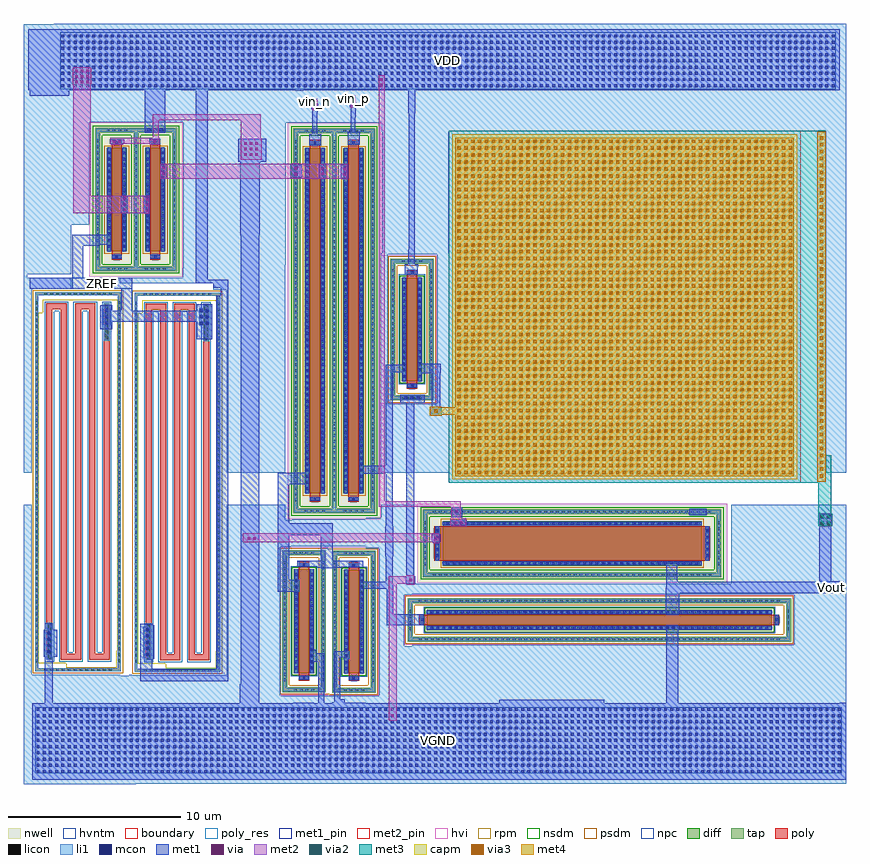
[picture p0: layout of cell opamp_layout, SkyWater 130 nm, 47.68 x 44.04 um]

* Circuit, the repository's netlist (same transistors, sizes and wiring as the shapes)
* NGSPICE file created from opamp_layout.ext - technology: sky130A

.subckt sky130_fd_pr__res_high_po_0p35_QUQJ7B a_n367_n2066# a_n497_n2196# a_297_1634#
X0 a_297_1634# a_n367_n2066# a_n497_n2196# sky130_fd_pr__res_high_po_0p35 l=99.66
.ends

.subckt sky130_fd_pr__pfet_g5v0d10v5_KL7KGA a_n60_n2097# a_60_n2000# w_n318_n2297#
+ a_n118_n2000# VSUBS
X0 a_60_n2000# a_n60_n2097# a_n118_n2000# w_n318_n2297# sky130_fd_pr__pfet_g5v0d10v5 ad=5.8 pd=40.58 as=5.8 ps=40.58 w=20 l=0.6
.ends

.subckt sky130_fd_pr__nfet_g5v0d10v5_WBHQJJ a_60_n600# a_n252_n822# a_n118_n600# a_n60_n688#
X0 a_60_n600# a_n60_n688# a_n118_n600# a_n252_n822# sky130_fd_pr__nfet_g5v0d10v5 ad=1.74 pd=12.58 as=1.74 ps=12.58 w=6 l=0.6
.ends

.subckt sky130_fd_pr__pfet_g5v0d10v5_KL97BA a_n60_n697# a_60_n600# w_n318_n897# a_n118_n600#
+ VSUBS
X0 a_60_n600# a_n60_n697# a_n118_n600# w_n318_n897# sky130_fd_pr__pfet_g5v0d10v5 ad=1.74 pd=12.58 as=1.74 ps=12.58 w=6 l=0.6
.ends

.subckt sky130_fd_pr__nfet_g5v0d10v5_ZKHQJZ a_60_n2000# a_n252_n2222# a_n60_n2088#
+ a_n118_n2000#
X0 a_60_n2000# a_n60_n2088# a_n118_n2000# a_n252_n2222# sky130_fd_pr__nfet_g5v0d10v5 ad=5.8 pd=40.58 as=5.8 ps=40.58 w=20 l=0.6
.ends

.subckt sky130_fd_pr__pfet_g5v0d10v5_V6J3CS a_n200_n1597# a_200_n1500# w_n458_n1797#
+ a_n258_n1500# VSUBS
X0 a_200_n1500# a_n200_n1597# a_n258_n1500# w_n458_n1797# sky130_fd_pr__pfet_g5v0d10v5 ad=4.35 pd=30.58 as=4.35 ps=30.58 w=15 l=2
.ends

.subckt sky130_fd_pr__cap_mim_m3_1_BNHTNG c1_n2146_n2000# m3_n2186_n2040# VSUBS
X0 c1_n2146_n2000# m3_n2186_n2040# sky130_fd_pr__cap_mim_m3_1 l=20 w=20
.ends

.subckt opamp_layout VDD vin_n vin_p VGND Vout ZREF
XR1 VGND VGND ZREF sky130_fd_pr__res_high_po_0p35_QUQJ7B
XR2 VDD VGND ZREF sky130_fd_pr__res_high_po_0p35_QUQJ7B
XXM1 vin_n m1_4161_n1993# w_4684_n404# w_4684_n404# VGND sky130_fd_pr__pfet_g5v0d10v5_KL7KGA
XXM2 vin_p w_4684_n404# w_4684_n404# m1_5112_n1960# VGND sky130_fd_pr__pfet_g5v0d10v5_KL7KGA
XXM3 m1_4161_n1993# VGND VGND m1_4161_n1993# sky130_fd_pr__nfet_g5v0d10v5_WBHQJJ
XXM4 VGND VGND m1_5112_n1960# m1_4161_n1993# sky130_fd_pr__nfet_g5v0d10v5_WBHQJJ
XXM5 VGND VDD VDD w_4684_n404# VGND sky130_fd_pr__pfet_g5v0d10v5_KL97BA
XXM6 VGND VGND m1_5112_n1960# Vout sky130_fd_pr__nfet_g5v0d10v5_ZKHQJZ
XXM7 VGND Vout VDD VDD VGND sky130_fd_pr__pfet_g5v0d10v5_V6J3CS
XXM9 m1_5786_540# VGND m1_5112_n1960# VDD sky130_fd_pr__nfet_g5v0d10v5_WBHQJJ
XXM8 VGND ZREF VDD VDD VGND sky130_fd_pr__pfet_g5v0d10v5_KL97BA
XXC1 m1_5786_540# Vout VGND sky130_fd_pr__cap_mim_m3_1_BNHTNG
.ends

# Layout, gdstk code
from math import pi, radians
import gdstk
lib = gdstk.Library(unit=1e-6, precision=1e-09)
def R(c, l, rs):  # rectangles x0, y0, x1, y1
    for r in rs: c.add(gdstk.rectangle(r[:2], r[2:], *l))
def A(c, l, x, y, w, h, nx, ny, dx, dy):  # array of equal rectangles
    R(c, l, [(x+i*dx, y+j*dy, x+i*dx+w, y+j*dy+h) for i in range(nx) for j in range(ny)])
nwell = (64, 20)
diff = (65, 20)
tap = (65, 44)
poly_res = (66, 13)
poly = (66, 20)
licon = (66, 44)
li1 = (67, 20)
mcon = (67, 44)
met1_pin = (68, 16)
met1 = (68, 20)
via = (68, 44)
met2_pin = (69, 16)
met2 = (69, 20)
via2 = (69, 44)
met3 = (70, 20)
via3 = (70, 44)
met4 = (71, 20)
hvi = (75, 20)
rpm = (86, 20)
capm = (89, 44)
nsdm = (93, 44)
psdm = (94, 20)
npc = (95, 20)
hvntm = (125, 20)
boundary = (235, 4)

sky130_fd_pr__pfet_g5v0d = lib.new_cell('sky130_fd_pr__pfet_g5v0d10v5_KL97BA')
R(sky130_fd_pr__pfet_g5v0d, nwell, [(-1.59,-4.485,1.59,4.485)])
R(sky130_fd_pr__pfet_g5v0d, diff, [(-0.59,-3,0.59,3)])
R(sky130_fd_pr__pfet_g5v0d, tap, [(-1.26,-4.155,1.26,-3.865), (-1.26,-3.865,-0.97,3.865), (0.97,-3.865,1.26,3.865), (-1.26,3.865,1.26,4.155)])
R(sky130_fd_pr__pfet_g5v0d, poly, [(-0.3,-3.485,0.3,3.485)])
A(sky130_fd_pr__pfet_g5v0d, licon, -0.595, -4.095, 0.17, 0.17, 4, 2, 0.34, 8.02)
A(sky130_fd_pr__pfet_g5v0d, licon, -1.2, -3.485, 0.17, 0.17, 1, 21, 0, 0.34)
A(sky130_fd_pr__pfet_g5v0d, licon, 1.03, -3.485, 0.17, 0.17, 1, 21, 0, 0.34)
A(sky130_fd_pr__pfet_g5v0d, licon, -0.53, -2.805, 0.17, 0.17, 1, 17, 0, 0.34)
A(sky130_fd_pr__pfet_g5v0d, licon, 0.36, -2.805, 0.17, 0.17, 1, 17, 0, 0.34)
R(sky130_fd_pr__pfet_g5v0d, licon, [(-0.085,-3.405,0.085,-3.235), (-0.085,3.235,0.085,3.405)])
R(sky130_fd_pr__pfet_g5v0d, li1, [(-1.2,-4.095,1.2,-3.925), (-1.2,-3.925,-1.03,3.925), (1.03,-3.925,1.2,3.925), (-0.3,-3.405,0.3,-3.235), (-0.53,-3.02,-0.36,3.02), (0.36,-3.02,0.53,3.02), (-0.3,3.235,0.3,3.405), (-1.2,3.925,1.2,4.095)])
A(sky130_fd_pr__pfet_g5v0d, mcon, -0.53, -2.785, 0.17, 0.17, 1, 16, 0, 0.36)
A(sky130_fd_pr__pfet_g5v0d, mcon, 0.36, -2.785, 0.17, 0.17, 1, 16, 0, 0.36)
R(sky130_fd_pr__pfet_g5v0d, mcon, [(-0.085,-3.405,0.085,-3.235), (-0.085,3.235,0.085,3.405)])
R(sky130_fd_pr__pfet_g5v0d, met1, [(-0.28,-3.435,0.28,-3.205), (-0.56,-3,-0.33,3), (0.33,-3,0.56,3), (-0.28,3.205,0.28,3.435)])
R(sky130_fd_pr__pfet_g5v0d, hvi, [(-1.59,-4.485,1.59,4.485)])
R(sky130_fd_pr__pfet_g5v0d, nsdm, [(-1.385,-4.28,1.385,-3.74), (-1.385,-3.74,-0.845,3.74), (0.845,-3.74,1.385,3.74), (-1.385,3.74,1.385,4.28)])
R(sky130_fd_pr__pfet_g5v0d, psdm, [(-0.715,-3.125,0.715,3.125)])
R(sky130_fd_pr__pfet_g5v0d, npc, [(-0.185,-3.505,0.185,-3.135), (-0.185,3.135,0.185,3.505)])
R(sky130_fd_pr__pfet_g5v0d, boundary, [(-1.115,-4.01,1.115,4.01)])

sky130_fd_pr__res_high_p = lib.new_cell('sky130_fd_pr__res_high_po_0p35_QUQJ7B')
R(sky130_fd_pr__res_high_p, tap, [(-2.485,-10.98,2.485,-10.81), (-2.485,-10.81,-2.315,10.81), (2.315,-10.81,2.485,10.81), (-2.485,10.81,2.485,10.98)])
A(sky130_fd_pr__res_high_p, poly_res, -1.005, -9.98, 0.35, 19.96, 3, 1, 0.83, 0)
R(sky130_fd_pr__res_high_p, poly_res, [(-1.005,-10.33,0.175,-9.98), (0.655,-10.33,1.835,-9.98), (1.485,-9.98,1.835,8.25), (-1.835,-8.25,-1.485,9.98), (-1.835,9.98,-0.655,10.33), (-0.175,9.98,1.005,10.33)])
A(sky130_fd_pr__res_high_p, poly, -1.005, -9.98, 0.35, 19.96, 3, 1, 0.83, 0)
R(sky130_fd_pr__res_high_p, poly, [(-1.835,-10.33,-1.485,9.98), (-1.005,-10.33,0.175,-9.98), (0.655,-10.33,1.835,-9.98), (1.485,-9.98,1.835,10.33), (-1.835,9.98,-0.655,10.33), (-0.175,9.98,1.005,10.33)])
A(sky130_fd_pr__res_high_p, licon, -1.955, -10.98, 0.17, 0.17, 12, 2, 0.34, 21.79)
A(sky130_fd_pr__res_high_p, licon, -2.485, -10.455, 0.17, 0.17, 1, 62, 0, 0.34)
A(sky130_fd_pr__res_high_p, licon, 2.315, -10.455, 0.17, 0.17, 1, 62, 0, 0.34)
R(sky130_fd_pr__res_high_p, licon, [(-1.755,-10.25,-1.565,-8.25), (1.565,8.25,1.755,10.25)])
R(sky130_fd_pr__res_high_p, li1, [(-2.485,-10.98,2.485,-10.81), (-2.485,-10.81,-2.315,10.81), (2.315,-10.81,2.485,10.81), (-1.835,-10.33,-1.485,-8.17), (1.485,8.17,1.835,10.33), (-2.485,10.81,2.485,10.98)])
R(sky130_fd_pr__res_high_p, rpm, [(-0.675,-10.79,2.255,-10.53), (-2.295,-10.53,2.255,-9.78), (-2.295,-9.78,2.295,9.78), (-2.035,9.78,2.295,10.53)])
R(sky130_fd_pr__res_high_p, psdm, [(-2.61,-11.105,2.61,11.105)])
A(sky130_fd_pr__res_high_p, npc, -1.1, -9.885, 0.54, 19.77, 3, 1, 0.83, 0)
R(sky130_fd_pr__res_high_p, npc, [(-1.93,-10.425,-1.39,9.885), (-1.1,-10.425,0.27,-9.885), (0.56,-10.425,1.93,-9.885), (1.39,-9.885,1.93,10.425), (-1.93,9.885,-0.56,10.425), (-0.27,9.885,1.1,10.425)])
R(sky130_fd_pr__res_high_p, boundary, [(-2.4,-10.895,2.4,10.895)])

sky130_fd_pr__nfet_g5v0d = lib.new_cell('sky130_fd_pr__nfet_g5v0d10v5_WBHQJJ')
R(sky130_fd_pr__nfet_g5v0d, diff, [(-0.59,-3,0.59,3)])
R(sky130_fd_pr__nfet_g5v0d, tap, [(-1.26,-4.11,1.26,-3.82), (-1.26,-3.82,-0.97,3.82), (0.97,-3.82,1.26,3.82), (-1.26,3.82,1.26,4.11)])
R(sky130_fd_pr__nfet_g5v0d, poly, [(-0.3,-3.44,0.3,3.44)])
A(sky130_fd_pr__nfet_g5v0d, licon, -0.595, -4.05, 0.17, 0.17, 4, 2, 0.34, 7.93)
A(sky130_fd_pr__nfet_g5v0d, licon, -1.2, -3.485, 0.17, 0.17, 1, 21, 0, 0.34)
A(sky130_fd_pr__nfet_g5v0d, licon, 1.03, -3.485, 0.17, 0.17, 1, 21, 0, 0.34)
A(sky130_fd_pr__nfet_g5v0d, licon, -0.53, -2.805, 0.17, 0.17, 1, 17, 0, 0.34)
A(sky130_fd_pr__nfet_g5v0d, licon, 0.36, -2.805, 0.17, 0.17, 1, 17, 0, 0.34)
R(sky130_fd_pr__nfet_g5v0d, licon, [(-0.085,-3.36,0.085,-3.19), (-0.085,3.19,0.085,3.36)])
R(sky130_fd_pr__nfet_g5v0d, li1, [(-1.2,-4.05,1.2,-3.88), (-1.2,-3.88,-1.03,3.88), (1.03,-3.88,1.2,3.88), (-0.3,-3.36,0.3,-3.19), (-0.53,-3.02,-0.36,3.02), (0.36,-3.02,0.53,3.02), (-0.3,3.19,0.3,3.36), (-1.2,3.88,1.2,4.05)])
A(sky130_fd_pr__nfet_g5v0d, mcon, -0.53, -2.785, 0.17, 0.17, 1, 16, 0, 0.36)
A(sky130_fd_pr__nfet_g5v0d, mcon, 0.36, -2.785, 0.17, 0.17, 1, 16, 0, 0.36)
R(sky130_fd_pr__nfet_g5v0d, mcon, [(-0.085,-3.36,0.085,-3.19), (-0.085,3.19,0.085,3.36)])
R(sky130_fd_pr__nfet_g5v0d, met1, [(-0.28,-3.39,0.28,-3.16), (-0.56,-3,-0.33,3), (0.33,-3,0.56,3), (-0.28,3.16,0.28,3.39)])
R(sky130_fd_pr__nfet_g5v0d, hvi, [(-1.445,-4.295,1.445,4.295)])
R(sky130_fd_pr__nfet_g5v0d, nsdm, [(-0.715,-3.125,0.715,3.125)])
R(sky130_fd_pr__nfet_g5v0d, psdm, [(-1.385,-4.235,1.385,-3.695), (-1.385,-3.695,-0.845,3.695), (0.845,-3.695,1.385,3.695), (-1.385,3.695,1.385,4.235)])
R(sky130_fd_pr__nfet_g5v0d, npc, [(-0.185,-3.46,0.185,-3.09), (-0.185,3.09,0.185,3.46)])
R(sky130_fd_pr__nfet_g5v0d, hvntm, [(-0.775,-3.185,0.775,3.185)])
R(sky130_fd_pr__nfet_g5v0d, boundary, [(-1.115,-3.965,1.115,3.965)])

c_sky130_fd_pr__pfet_g5v0d = lib.new_cell('sky130_fd_pr__pfet_g5v0d10v5_KL7KGA')
R(c_sky130_fd_pr__pfet_g5v0d, nwell, [(-1.59,-11.485,1.59,11.485)])
R(c_sky130_fd_pr__pfet_g5v0d, diff, [(-0.59,-10,0.59,10)])
R(c_sky130_fd_pr__pfet_g5v0d, tap, [(-1.26,-11.155,1.26,-10.865), (-1.26,-10.865,-0.97,10.865), (0.97,-10.865,1.26,10.865), (-1.26,10.865,1.26,11.155)])
R(c_sky130_fd_pr__pfet_g5v0d, poly, [(-0.3,-10.485,0.3,10.485)])
A(c_sky130_fd_pr__pfet_g5v0d, licon, -0.595, -11.095, 0.17, 0.17, 4, 2, 0.34, 22.02)
A(c_sky130_fd_pr__pfet_g5v0d, licon, -1.2, -10.455, 0.17, 0.17, 1, 62, 0, 0.34)
A(c_sky130_fd_pr__pfet_g5v0d, licon, 1.03, -10.455, 0.17, 0.17, 1, 62, 0, 0.34)
A(c_sky130_fd_pr__pfet_g5v0d, licon, -0.53, -9.775, 0.17, 0.17, 1, 58, 0, 0.34)
A(c_sky130_fd_pr__pfet_g5v0d, licon, 0.36, -9.775, 0.17, 0.17, 1, 58, 0, 0.34)
R(c_sky130_fd_pr__pfet_g5v0d, licon, [(-0.085,-10.405,0.085,-10.235), (-0.085,10.235,0.085,10.405)])
R(c_sky130_fd_pr__pfet_g5v0d, li1, [(-1.2,-11.095,1.2,-10.925), (-1.2,-10.925,-1.03,10.925), (1.03,-10.925,1.2,10.925), (-0.3,-10.405,0.3,-10.235), (-0.53,-10.02,-0.36,10.02), (0.36,-10.02,0.53,10.02), (-0.3,10.235,0.3,10.405), (-1.2,10.925,1.2,11.095)])
A(c_sky130_fd_pr__pfet_g5v0d, mcon, -0.53, -9.805, 0.17, 0.17, 1, 55, 0, 0.36)
A(c_sky130_fd_pr__pfet_g5v0d, mcon, 0.36, -9.805, 0.17, 0.17, 1, 55, 0, 0.36)
R(c_sky130_fd_pr__pfet_g5v0d, mcon, [(-0.085,-10.405,0.085,-10.235), (-0.085,10.235,0.085,10.405)])
R(c_sky130_fd_pr__pfet_g5v0d, met1, [(-0.28,-10.435,0.28,-10.205), (-0.56,-10,-0.33,10), (0.33,-10,0.56,10), (-0.28,10.205,0.28,10.435)])
R(c_sky130_fd_pr__pfet_g5v0d, hvi, [(-1.59,-11.485,1.59,11.485)])
R(c_sky130_fd_pr__pfet_g5v0d, nsdm, [(-1.385,-11.28,1.385,-10.74), (-1.385,-10.74,-0.845,10.74), (0.845,-10.74,1.385,10.74), (-1.385,10.74,1.385,11.28)])
R(c_sky130_fd_pr__pfet_g5v0d, psdm, [(-0.715,-10.125,0.715,10.125)])
R(c_sky130_fd_pr__pfet_g5v0d, npc, [(-0.185,-10.505,0.185,-10.135), (-0.185,10.135,0.185,10.505)])
R(c_sky130_fd_pr__pfet_g5v0d, boundary, [(-1.115,-11.01,1.115,11.01)])

c_sky130_fd_pr__pfet_g5v0d_ = lib.new_cell('sky130_fd_pr__pfet_g5v0d10v5_V6J3CS')
R(c_sky130_fd_pr__pfet_g5v0d_, nwell, [(-2.29,-8.985,2.29,8.985)])
R(c_sky130_fd_pr__pfet_g5v0d_, diff, [(-1.29,-7.5,1.29,7.5)])
R(c_sky130_fd_pr__pfet_g5v0d_, tap, [(-1.96,-8.655,1.96,-8.365), (-1.96,-8.365,-1.67,8.365), (1.67,-8.365,1.96,8.365), (-1.96,8.365,1.96,8.655)])
R(c_sky130_fd_pr__pfet_g5v0d_, poly, [(-1,-7.985,1,7.985)])
A(c_sky130_fd_pr__pfet_g5v0d_, licon, -1.275, -8.595, 0.17, 0.17, 8, 2, 0.34, 17.02)
A(c_sky130_fd_pr__pfet_g5v0d_, licon, -1.9, -8.075, 0.17, 0.17, 1, 48, 0, 0.34)
A(c_sky130_fd_pr__pfet_g5v0d_, licon, 1.73, -8.075, 0.17, 0.17, 1, 48, 0, 0.34)
A(c_sky130_fd_pr__pfet_g5v0d_, licon, -0.765, -7.905, 0.17, 0.17, 5, 2, 0.34, 15.64)
A(c_sky130_fd_pr__pfet_g5v0d_, licon, -1.23, -7.395, 0.17, 0.17, 1, 44, 0, 0.34)
A(c_sky130_fd_pr__pfet_g5v0d_, licon, 1.06, -7.395, 0.17, 0.17, 1, 44, 0, 0.34)
R(c_sky130_fd_pr__pfet_g5v0d_, li1, [(-1.9,-8.595,1.9,-8.425), (-1.9,-8.425,-1.73,8.425), (1.73,-8.425,1.9,8.425), (-1,-7.905,1,-7.735), (-1.23,-7.52,-1.06,7.52), (1.06,-7.52,1.23,7.52), (-1,7.735,1,7.905), (-1.9,8.425,1.9,8.595)])
A(c_sky130_fd_pr__pfet_g5v0d_, mcon, -0.805, -7.905, 0.17, 0.17, 5, 2, 0.36, 15.64)
A(c_sky130_fd_pr__pfet_g5v0d_, mcon, -1.23, -7.285, 0.17, 0.17, 1, 41, 0, 0.36)
A(c_sky130_fd_pr__pfet_g5v0d_, mcon, 1.06, -7.285, 0.17, 0.17, 1, 41, 0, 0.36)
R(c_sky130_fd_pr__pfet_g5v0d_, met1, [(-0.98,-7.935,0.98,-7.705), (-1.26,-7.5,-1.03,7.5), (1.03,-7.5,1.26,7.5), (-0.98,7.705,0.98,7.935)])
R(c_sky130_fd_pr__pfet_g5v0d_, hvi, [(-2.29,-8.985,2.29,8.985)])
R(c_sky130_fd_pr__pfet_g5v0d_, nsdm, [(-2.085,-8.78,2.085,-8.24), (-2.085,-8.24,-1.545,8.24), (1.545,-8.24,2.085,8.24), (-2.085,8.24,2.085,8.78)])
R(c_sky130_fd_pr__pfet_g5v0d_, psdm, [(-1.415,-7.625,1.415,7.625)])
R(c_sky130_fd_pr__pfet_g5v0d_, npc, [(-0.865,-8.005,0.865,-7.635), (-0.865,7.635,0.865,8.005)])
R(c_sky130_fd_pr__pfet_g5v0d_, boundary, [(-1.815,-8.51,1.815,8.51)])

c_sky130_fd_pr__nfet_g5v0d = lib.new_cell('sky130_fd_pr__nfet_g5v0d10v5_ZKHQJZ')
R(c_sky130_fd_pr__nfet_g5v0d, diff, [(-0.59,-10,0.59,10)])
R(c_sky130_fd_pr__nfet_g5v0d, tap, [(-1.26,-11.11,1.26,-10.82), (-1.26,-10.82,-0.97,10.82), (0.97,-10.82,1.26,10.82), (-1.26,10.82,1.26,11.11)])
R(c_sky130_fd_pr__nfet_g5v0d, poly, [(-0.3,-10.44,0.3,10.44)])
A(c_sky130_fd_pr__nfet_g5v0d, licon, -0.595, -11.05, 0.17, 0.17, 4, 2, 0.34, 21.93)
A(c_sky130_fd_pr__nfet_g5v0d, licon, -1.2, -10.455, 0.17, 0.17, 1, 62, 0, 0.34)
A(c_sky130_fd_pr__nfet_g5v0d, licon, 1.03, -10.455, 0.17, 0.17, 1, 62, 0, 0.34)
A(c_sky130_fd_pr__nfet_g5v0d, licon, -0.53, -9.775, 0.17, 0.17, 1, 58, 0, 0.34)
A(c_sky130_fd_pr__nfet_g5v0d, licon, 0.36, -9.775, 0.17, 0.17, 1, 58, 0, 0.34)
R(c_sky130_fd_pr__nfet_g5v0d, licon, [(-0.085,-10.36,0.085,-10.19), (-0.085,10.19,0.085,10.36)])
R(c_sky130_fd_pr__nfet_g5v0d, li1, [(-1.2,-11.05,1.2,-10.88), (-1.2,-10.88,-1.03,10.88), (1.03,-10.88,1.2,10.88), (-0.3,-10.36,0.3,-10.19), (-0.53,-10.02,-0.36,10.02), (0.36,-10.02,0.53,10.02), (-0.3,10.19,0.3,10.36), (-1.2,10.88,1.2,11.05)])
A(c_sky130_fd_pr__nfet_g5v0d, mcon, -0.53, -9.805, 0.17, 0.17, 1, 55, 0, 0.36)
A(c_sky130_fd_pr__nfet_g5v0d, mcon, 0.36, -9.805, 0.17, 0.17, 1, 55, 0, 0.36)
R(c_sky130_fd_pr__nfet_g5v0d, mcon, [(-0.085,-10.36,0.085,-10.19), (-0.085,10.19,0.085,10.36)])
R(c_sky130_fd_pr__nfet_g5v0d, met1, [(-0.28,-10.39,0.28,-10.16), (-0.56,-10,-0.33,10), (0.33,-10,0.56,10), (-0.28,10.16,0.28,10.39)])
R(c_sky130_fd_pr__nfet_g5v0d, hvi, [(-1.445,-11.295,1.445,11.295)])
R(c_sky130_fd_pr__nfet_g5v0d, nsdm, [(-0.715,-10.125,0.715,10.125)])
R(c_sky130_fd_pr__nfet_g5v0d, psdm, [(-1.385,-11.235,1.385,-10.695), (-1.385,-10.695,-0.845,10.695), (0.845,-10.695,1.385,10.695), (-1.385,10.695,1.385,11.235)])
R(c_sky130_fd_pr__nfet_g5v0d, npc, [(-0.185,-10.46,0.185,-10.09), (-0.185,10.09,0.185,10.46)])
R(c_sky130_fd_pr__nfet_g5v0d, hvntm, [(-0.775,-10.185,0.775,10.185)])
R(c_sky130_fd_pr__nfet_g5v0d, boundary, [(-1.115,-10.965,1.115,10.965)])

sky130_fd_pr__cap_mim_m3 = lib.new_cell('sky130_fd_pr__cap_mim_m3_1_BNHTNG')
R(sky130_fd_pr__cap_mim_m3, met3, [(-10.93,-10.2,10.93,10.2)])
A(sky130_fd_pr__cap_mim_m3, via3, 10.57, -9.9, 0.2, 0.2, 1, 50, 0, 0.4)
A(sky130_fd_pr__cap_mim_m3, via3, -10.43, -9.7, 0.2, 0.2, 49, 49, 0.4, 0.4)
R(sky130_fd_pr__cap_mim_m3, met4, [(10.43,-10.14,10.91,10.14), (-10.535,-9.805,9.075,9.805)])
R(sky130_fd_pr__cap_mim_m3, capm, [(-10.73,-10,9.27,10)])
R(sky130_fd_pr__cap_mim_m3, boundary, [(-10.93,-10.2,9.47,10.2)])

opamp_layout = lib.new_cell('opamp_layout')
R(opamp_layout, nwell, [(23.42,-2.02,24.37,12.91), (12.155,8.67,12.975,11.59), (24.32,12.91,24.37,13.22), (12.155,13.16,12.975,15.89), (24.32,15.46,24.37,15.48), (23.42,15.48,24.37,17.03), (12.155,16.41,12.975,16.94)])
R(opamp_layout, li1, [(6.09,-21.11,12.6,-21.09), (6.09,-21.09,53.77,-17.37), (6.11,-17.37,53.77,-16.01), (6.11,-16.01,20.95,-14.85), (21.56,-16.01,53.77,-15.99), (26.7,-15.99,53.77,-15.91), (26.7,-15.91,53.75,-13.14), (6.11,-14.85,11.7,-14.78), (12.21,-14.85,20.95,-14.8), (12.21,-14.8,12.38,-14.78), (17.85,-14.8,20.95,-7.37), (6.11,-14.78,6.57,-4.92), (13.01,-13.78,13.51,-11.99), (7.33,-13.6,7.75,-12.21), (26.7,-13.14,28.15,-10.13), (28.6,-13.14,53.75,-13.05), (50.74,-13.05,53.75,-10.12), (26.7,-10.13,28.58,-10.12), (26.7,-10.12,53.75,-9.51), (26.7,-9.51,28.71,-7.44), (47.1,-9.51,53.75,-4.92), (25.91,-7.44,28.71,-7.32), (17.85,-7.37,21.56,-7.32), (17.85,-7.32,28.71,-5.82), (17.85,-5.82,21.25,-4.92), (21.66,-5.82,28.71,-5.78), (25.91,-5.78,28.71,-5.68), (26.81,-5.68,28.71,-4.94), (30.93,-5.54,31.37,-5.15), (26.81,-4.94,28.17,-4.92), (6.11,-3.08,6.57,7.54), (17.85,-3.08,21.25,7.53), (26.79,-3.08,30.75,0.92), (52.56,-3.08,53.75,16.73), (26.79,0.92,27.19,9.59), (30.06,0.92,30.75,9.59), (28.05,1.14,29.13,1.39), (16.27,5.47,16.84,6.45), (10.7,5.51,11.11,6.43), (17.07,7.53,21.25,7.91), (6.11,7.54,6.59,7.58), (6.11,7.58,8.84,8.22), (11.67,7.91,21.25,8.22), (6.11,8.22,6.29,8.44), (12.39,8.22,21.25,8.23), (15.32,8.23,21.25,8.74), (6.11,8.44,8.84,11.3), (15.33,8.74,21.25,8.97), (15.33,8.97,21.27,12.99), (26.79,9.59,30.75,9.6), (26.79,9.6,30.73,9.64), (26.87,9.64,30.73,16.72), (6.11,11.3,9.9,17.23), (15.33,12.99,21.28,15.31), (21.67,14.07,22.12,14.75), (15.33,15.31,21.27,17.2), (13.26,16.71,14.15,16.88), (47.95,16.71,52.1,16.72), (26.83,16.72,52.1,16.73), (26.83,16.73,53.75,17.2), (15.33,17.2,53.75,17.23), (6.11,17.23,53.75,22.91), (6.56,22.91,53.75,22.92), (7.83,22.92,53.75,22.93)])
A(opamp_layout, mcon, 6.84, -20.47, 0.17, 0.17, 130, 11, 0.36, 0.36)
A(opamp_layout, mcon, 13.175, -13.69, 0.17, 0.17, 1, 5, 0, 0.36)
A(opamp_layout, mcon, 7.455, -13.53, 0.17, 0.17, 1, 4, 0, 0.36)
A(opamp_layout, mcon, 28.145, 1.18, 0.17, 0.17, 3, 1, 0.36, 0)
A(opamp_layout, mcon, 16.29, 5.515, 0.17, 0.17, 1, 3, 0, 0.36)
A(opamp_layout, mcon, 16.65, 5.515, 0.17, 0.17, 1, 3, 0, 0.36)
A(opamp_layout, mcon, 10.82, 5.525, 0.17, 0.17, 1, 3, 0, 0.36)
A(opamp_layout, mcon, 13.26, 16.71, 0.17, 0.17, 3, 1, 0.36, 0)
A(opamp_layout, mcon, 8.275, 19.27, 0.17, 0.17, 125, 9, 0.36, 0.36)
R(opamp_layout, mcon, [(31.065,-5.43,31.235,-5.26), (21.81,14.145,21.98,14.315), (21.81,14.505,21.98,14.675)])
R(opamp_layout, met1_pin, [(6.78,-20.5,53.51,-16.67), (52.2,-10.06,53.63,-9.36), (8.91,7.6,12.38,8.24), (8.22,19.14,53.14,22.45)])
R(opamp_layout, met1, [(6.59,-20.87,53.77,-16.57), (6.58,-16.57,53.77,-16.42), (7.33,-16.42,7.79,-13.73), (18.63,-16.42,19.76,-15.34), (21.73,-16.42,22.89,-16.41), (23.16,-16.42,23.505,-14.03), (23.965,-16.42,25.91,-16.4), (33.66,-16.42,39.73,-16.23), (43.33,-16.42,44.02,-11.91), (53.38,-16.42,53.77,-16.41), (23.965,-16.4,24.69,-16.38), (24.095,-16.38,24.69,-16.21), (24.095,-16.21,24.445,-13.775), (18.66,-15.34,19.76,10.68), (12.845,-15.155,17.945,-14.465), (12.845,-14.465,13.535,-13.86), (17.255,-14.465,17.945,7.19), (22.66,-14.03,23.505,-13.915), (22.66,-13.915,23.515,-13.545), (24.62,-13.88,24.97,-13.775), (12.845,-13.86,13.67,-11.9), (24.095,-13.775,24.97,-13.425), (7.27,-13.73,8.03,-12.17), (22.66,-13.545,23.03,-13.33), (24.62,-13.425,24.97,-13.41), (7.33,-12.17,7.79,-11.79), (27.12,-11.91,29.28,-11.28), (12.845,-11.9,13.535,-11.815), (43.31,-11.29,44.08,-10.06), (27.125,-11.28,27.5,-9.8), (43.31,-10.06,53.63,-9.73), (20.805,-9.965,22.055,-9.275), (25.56,-9.8,27.5,-9.54), (43.33,-9.73,53.63,-9.38), (25.56,-9.54,27.49,-9.38), (28.225,-9.505,28.78,-9.07), (27.07,-9.38,27.49,-7.9), (43.33,-9.38,44.01,-9.3), (52.2,-9.38,53.63,-9.36), (52.21,-9.36,52.89,-6.15), (43.34,-9.3,43.96,-8.21), (20.805,-9.275,21.495,-6.695), (28.275,-9.07,28.725,0.99), (23.305,-8.605,23.995,-8.59), (23.14,-8.59,24.51,-8.55), (23.14,-8.55,25.78,-8.53), (21.96,-8.53,25.78,-8.16), (23.305,-8.16,23.995,-6.695), (27.06,-7.9,27.51,-6.17), (29.75,-7.1,30.22,-6.64), (20.805,-6.695,23.995,-6.005), (27.07,-6.17,27.49,-3.12), (52.16,-6.15,52.94,-5.47), (30.82,-6.11,31.78,-5.79), (20.805,-6.005,21.495,-3.75), (30.89,-5.64,31.52,-5.08), (44.65,-5.54,45.69,-5.16), (20.805,-3.75,22.64,-3.06), (25.56,-3.12,27.49,-2.66), (22.46,-3.06,22.66,-2.57), (27.07,-2.66,27.49,2.75), (29.62,0.22,30.32,0.64), (29.62,0.64,30.23,0.74), (29.73,0.74,30.23,0.89), (29.73,0.89,30.235,2.7), (27.93,0.99,29.35,1.44), (28.93,2.7,30.25,3.24), (27.07,2.75,28.27,3.17), (16.13,4.66,17.02,5.67), (10.54,5.25,11.22,5.67), (10.54,5.67,17.02,6.31), (10.54,6.31,11.22,6.64), (11.74,6.31,12.38,7.6), (16.13,6.31,17.02,6.69), (17.51,7.19,17.945,7.41), (17.51,7.41,17.95,7.65), (6.44,7.58,9.55,7.6), (6.44,7.6,12.38,8.22), (17.07,7.65,17.95,7.91), (16.075,7.91,17.95,8.11), (16.075,8.11,16.775,19.1), (8.91,8.22,12.38,8.24), (8.91,8.24,9.55,10.09), (28.18,8.4,28.94,8.85), (28.18,8.85,28.95,9), (28.38,9,28.77,9.84), (28.395,9.84,28.76,17.76), (8.91,10.09,10.47,10.13), (8.91,10.13,11.13,10.72), (18.65,10.68,19.77,14.93), (8.91,10.72,10.47,10.73), (13.05,11.98,13.41,12.92), (11.73,12,12.14,12.94), (24.48,13.98,24.89,14.77), (21.62,14.01,22.1,14.02), (23.19,14.01,23.64,14.77), (21.55,14.02,22.2,14.8), (14,14.05,14.38,14.78), (18.65,14.93,19.825,14.95), (18.53,14.95,20.15,16.27), (22.63,15.9,23.33,16.53), (24.87,15.92,25.56,16.68), (11.21,15.96,11.76,15.99), (13.36,15.98,14,16.28), (11.09,15.99,11.92,16.26), (22.83,16.53,23.11,17.81), (13.12,16.62,14.31,19.1), (25.06,16.68,25.32,17.54), (25.05,17.54,25.33,18.12), (28.38,17.76,28.78,19.1), (22.82,17.81,23.125,17.995), (22.77,17.995,23.175,18.3), (25,18.12,25.38,18.4), (6.44,18.78,8.75,19.1), (21.86,19.06,22.3,19.1), (10.64,19.08,12.28,19.1), (52.95,19.09,53.37,19.1), (6.35,19.1,14.53,19.11), (15.23,19.1,53.37,19.11), (6.35,19.11,53.37,19.25), (6.35,19.25,53.38,22.45), (6.35,22.45,53.39,22.62)])
A(opamp_layout, via, 13.155, 12.055, 0.15, 0.15, 1, 3, 0, 0.32)
A(opamp_layout, via, 11.86, 12.075, 0.15, 0.15, 1, 3, 0, 0.32)
A(opamp_layout, via, 18.875, 15.285, 0.15, 0.15, 3, 3, 0.32, 0.32)
A(opamp_layout, via, 9.075, 19.485, 0.15, 0.15, 3, 3, 0.32, 0.32)
R(opamp_layout, via, [(27.39,-17.22,27.54,-17.07), (28.425,-9.365,28.575,-9.215), (19.085,-6.96,19.235,-6.81), (19.405,-6.96,19.555,-6.81), (29.91,-6.945,30.06,-6.795), (52.315,-6.045,52.465,-5.895), (52.635,-6.045,52.785,-5.895), (31.065,-6.025,31.215,-5.875), (31.385,-6.025,31.535,-5.875), (52.315,-5.725,52.465,-5.575), (52.635,-5.725,52.785,-5.575), (31.1,-5.385,31.25,-5.235), (29.9,0.435,30.05,0.585), (24.61,14.14,24.76,14.29), (23.34,14.155,23.49,14.305), (21.785,14.17,21.935,14.32), (14.115,14.18,14.265,14.33), (24.61,14.46,24.76,14.61), (23.34,14.475,23.49,14.625), (21.785,14.49,21.935,14.64), (14.115,14.5,14.265,14.65), (11.27,16.05,11.42,16.2), (11.59,16.05,11.74,16.2), (13.605,16.055,13.755,16.205), (22.895,18.07,23.045,18.22), (25.115,18.185,25.265,18.335), (26.765,19.325,26.915,19.475), (26.765,19.645,26.915,19.795)])
R(opamp_layout, met2_pin, [(22.82,18.3,23.11,18.61), (25.06,18.4,25.32,18.81)])
R(opamp_layout, met2, [(27.255,-17.445,27.705,-9.51), (28.275,-9.555,28.73,-9.51), (27.255,-9.51,28.73,-9.06), (28.275,-9.06,28.73,-9.02), (29.8,-7.15,30.17,-7.11), (28.51,-7.11,30.17,-7.1), (18.8,-7.1,30.17,-6.59), (52.21,-6.2,52.89,-5.42), (30.87,-6.16,31.73,-6.115), (30.815,-6.115,31.755,-5.71), (30.885,-5.71,31.435,-5.055), (26.675,-5.055,31.435,-4.725), (26.675,-4.725,27.005,19.965), (29.62,0.22,30.32,0.74), (13.1,11.93,13.36,11.97), (11.78,11.95,12.09,11.97), (8.97,11.97,13.38,12.97), (8.97,12.97,9.97,19.38), (11.78,12.97,12.09,12.99), (24.53,13.93,24.84,13.97), (21.67,13.96,22.05,13.97), (23.24,13.96,23.59,13.97), (14.02,13.97,24.85,14.83), (21.67,14.83,22.05,14.85), (18.66,15.06,19.89,16.3), (13.41,15.93,13.95,15.99), (11.14,15.94,11.87,15.99), (11.11,15.99,13.95,16.33), (18.67,16.3,19.83,17.35), (11.11,16.33,13.93,16.35), (13.58,16.35,13.93,17.35), (14.24,17.34,14.4,17.35), (13.57,17.35,15.79,17.36), (18.41,17.35,19.84,17.36), (13.57,17.36,19.84,17.69), (22.82,17.945,23.125,18.35), (25.05,18.07,25.33,18.6), (22.82,18.35,23.12,18.61), (25.06,18.6,25.32,18.81), (8.94,19.38,10,20.38), (26.69,19.965,26.99,19.97), (8.97,20.38,9.97,20.43)])
R(opamp_layout, via2, [(52.25,-6.11,52.45,-5.91), (52.65,-6.11,52.85,-5.91), (52.25,-5.71,52.45,-5.51), (52.65,-5.71,52.85,-5.51), (29.875,0.41,30.075,0.61)])
R(opamp_layout, met3, [(52.16,-6.175,52.94,-6.15), (52.14,-6.15,52.94,-5.445), (52.14,-5.445,52.89,-3.48), (52.12,-3.48,52.89,-2.05), (29.62,0.22,30.32,0.74)])
R(opamp_layout, via3, [(29.875,0.41,30.075,0.61)])
R(opamp_layout, met4, [(29.62,0.22,30.32,0.29), (29.62,0.29,31.84,0.72), (29.62,0.72,30.32,0.74)])
R(opamp_layout, hvi, [(26.795,0.935,27.155,9.525)])
R(opamp_layout, psdm, [(23.725,-15.915,23.845,-7.465)])
opamp_layout.add(gdstk.Reference(sky130_fd_pr__pfet_g5v0d, (11.49,12.755), rotation=pi))
opamp_layout.add(gdstk.Reference(sky130_fd_pr__pfet_g5v0d, (13.72,12.755), rotation=pi))
opamp_layout.add(gdstk.Reference(sky130_fd_pr__res_high_p, (15.005,-3.62)))
opamp_layout.add(gdstk.Reference(sky130_fd_pr__res_high_p, (9.245,-3.59)))
opamp_layout.add(gdstk.Reference(sky130_fd_pr__nfet_g5v0d, (28.6,5.23)))
opamp_layout.add(gdstk.Reference(sky130_fd_pr__nfet_g5v0d, (25.23,-11.7), rotation=pi))
opamp_layout.add(gdstk.Reference(sky130_fd_pr__nfet_g5v0d, (22.34,-11.68), rotation=pi))
opamp_layout.add(gdstk.Reference(c_sky130_fd_pr__pfet_g5v0d, (25.205,5.725), rotation=pi))
opamp_layout.add(gdstk.Reference(c_sky130_fd_pr__pfet_g5v0d, (22.975,5.725), rotation=pi))
opamp_layout.add(gdstk.Reference(c_sky130_fd_pr__pfet_g5v0d_, (37.875,-7.16), rotation=3*pi/2))
opamp_layout.add(gdstk.Reference(c_sky130_fd_pr__nfet_g5v0d, (39.45,-11.6), rotation=3*pi/2))
opamp_layout.add(gdstk.Reference(sky130_fd_pr__cap_mim_m3, (41.65,6.535), x_reflection=True))
opamp_layout.add(gdstk.Label('VDD', (30.68,20.795), layer=68, texttype=5))
opamp_layout.add(gdstk.Label('vin_n', (22.965,18.455), layer=69, texttype=5))
opamp_layout.add(gdstk.Label('vin_p', (25.19,18.605), layer=69, texttype=5))
opamp_layout.add(gdstk.Label('VGND', (30.145,-18.585), layer=68, texttype=5))
opamp_layout.add(gdstk.Label('Vout', (52.915,-9.71), layer=68, texttype=5))
opamp_layout.add(gdstk.Label('ZREF', (10.645,7.92), layer=68, texttype=5))

lib.write_gds('opamp_layout.gds')
